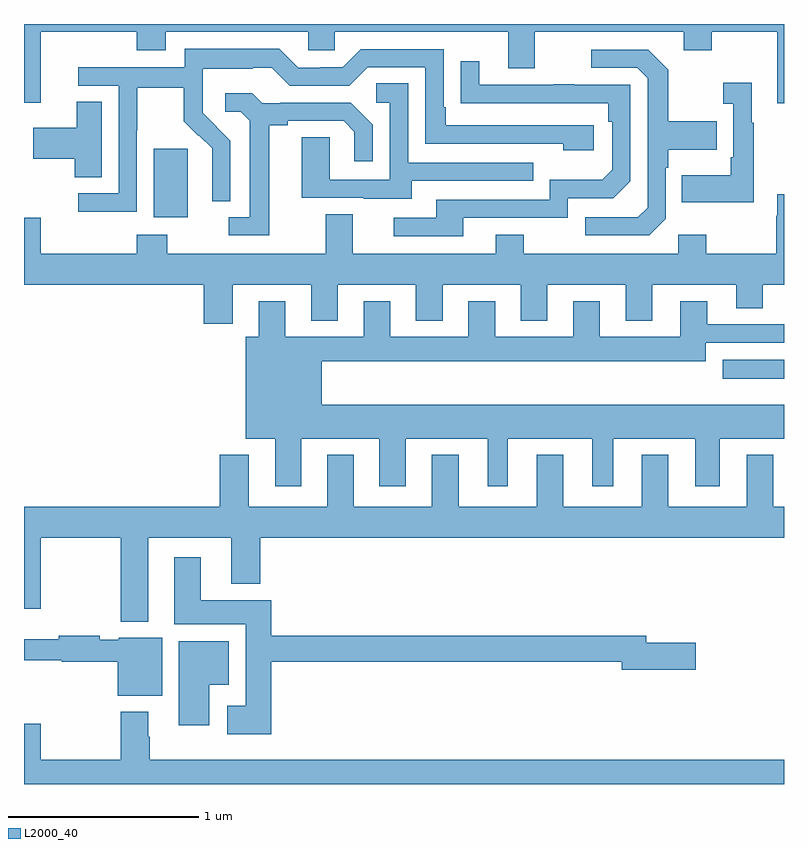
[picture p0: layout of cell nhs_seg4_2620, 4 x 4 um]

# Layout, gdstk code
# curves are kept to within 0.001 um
import gdstk
lib = gdstk.Library(unit=1e-6, precision=1e-09)
def R(c, l, rs):  # rectangles x0, y0, x1, y1
    for r in rs: c.add(gdstk.rectangle(r[:2], r[2:], *l))
def P(c, l, *ps):  # polygons
    for p in ps: c.add(gdstk.Polygon(p, *l))
L2000_40 = (2000, 40)

nhs_seg4_2620 = lib.new_cell('nhs_seg4_2620')
R(nhs_seg4_2620, L2000_40, [(252.678,755.033,253,755.134), (249.683,755.882,249.862,756.243)])
P(nhs_seg4_2620, L2000_40, [(253,756.9),(249,756.9),(249,756.486),(249.088,756.486),(249.088,756.86),(249.593,756.86),(249.593,756.761),(249.745,756.761),(249.745,756.86),(250.497,756.86),(250.497,756.762),(250.635,756.762),(250.635,756.86),(251.549,756.86),(251.549,756.666),(251.689,756.666),(251.689,756.86),(252.473,756.86),(252.473,756.761),(252.621,756.761),(252.621,756.86),(252.965,756.86),(252.965,756.483),(253,756.483)],
  [(249.594,756.34),(249.597,756.34),(249.597,756.564),(249.841,756.564),(249.841,756.389),(249.918,756.312),(249.921,756.315),(249.992,756.245),(249.992,756.122),(249.99,756.122),(249.99,755.968),(250.086,755.968),(250.086,756.286),(249.94,756.434),(249.94,756.531),(249.942,756.531),(249.942,756.665),(250.205,756.665),(250.205,756.669),(250.305,756.669),(250.398,756.576),(250.713,756.576),(250.809,756.672),(251.112,756.672),(251.112,756.27),(251.837,756.27),(251.837,756.236),(251.998,756.236),(251.998,756.366),(251.221,756.366),(251.221,756.463),(251.208,756.463),(251.208,756.768),(250.773,756.768),(250.677,756.672),(250.559,756.672),(250.559,756.669),(250.443,756.669),(250.343,756.769),(249.846,756.769),(249.846,756.672),(249.285,756.672),(249.285,756.576),(249.498,756.576),(249.498,756.009),(249.285,756.009),(249.285,755.911),(249.594,755.911)],
  [(252.378,755.874),(252.378,756.143),(252.391,756.143),(252.391,756.239),(252.647,756.239),(252.647,756.387),(252.391,756.387),(252.391,756.659),(252.285,756.765),(251.985,756.765),(251.985,756.669),(252.228,756.669),(252.282,756.615),(252.282,755.934),(252.231,755.883),(251.955,755.883),(251.955,755.787),(252.291,755.787)],
  [(251.311,755.88),(251.862,755.88),(251.862,755.982),(252.102,755.982),(252.192,756.072),(252.192,756.579),(251.897,756.579),(251.897,756.584),(251.785,756.584),(251.785,756.579),(251.395,756.579),(251.395,756.703),(251.299,756.703),(251.299,756.484),(252.076,756.483),(252.076,756.386),(252.096,756.386),(252.096,756.132),(252.043,756.079),(251.766,756.079),(251.766,755.976),(251.171,755.976),(251.171,755.88),(250.947,755.88),(250.947,755.784),(251.311,755.784)],
  [(252.841,756.379),(252.829,756.379),(252.829,756.592),(252.681,756.592),(252.681,756.479),(252.732,756.479),(252.732,756.199),(252.72,756.199),(252.72,756.103),(252.463,756.103),(252.463,755.963),(252.841,755.963)],
  [(251.041,756.075),(251.681,756.075),(251.681,756.171),(251.022,756.171),(251.022,756.587),(250.854,756.587),(250.854,756.486),(250.926,756.486),(250.926,756.081),(250.608,756.081),(250.608,756.305),(250.463,756.305),(250.463,755.985),(250.787,755.985),(250.787,755.981),(251.041,755.981)],
  [(250.291,756.368),(250.387,756.368),(250.387,756.39),(250.682,756.39),(250.739,756.333),(250.739,756.177),(250.836,756.177),(250.836,756.37),(250.72,756.486),(250.348,756.486),(250.348,756.483),(250.254,756.483),(250.202,756.535),(250.059,756.535),(250.059,756.438),(250.14,756.438),(250.187,756.391),(250.187,755.883),(250.077,755.883),(250.077,755.787),(250.291,755.787)],
  [(249.409,756.491),(249.278,756.491),(249.278,756.355),(249.048,756.355),(249.048,756.19),(249.266,756.19),(249.266,756.094),(249.409,756.094)],
  [(250.099,755.528),(250.511,755.528),(250.511,755.339),(250.651,755.339),(250.651,755.528),(251.063,755.528),(251.063,755.339),(251.203,755.339),(251.203,755.528),(251.615,755.528),(251.615,755.339),(251.755,755.339),(251.755,755.528),(252.167,755.528),(252.167,755.339),(252.307,755.339),(252.307,755.528),(252.749,755.528),(252.749,755.404),(252.889,755.404),(252.889,755.528),(253,755.528),(253,756.004),(252.965,756.004),(252.965,755.891),(252.958,755.891),(252.958,755.692),(252.591,755.692),(252.591,755.791),(252.444,755.791),(252.444,755.692),(251.631,755.692),(251.631,755.791),(251.483,755.791),(251.483,755.692),(250.729,755.692),(250.729,755.9),(250.589,755.9),(250.589,755.692),(249.753,755.692),(249.753,755.791),(249.593,755.791),(249.593,755.692),(249.088,755.692),(249.088,755.881),(249,755.881),(249,755.528),(249.947,755.528),(249.947,755.322),(250.099,755.322)],
  [(250.459,754.718),(250.871,754.718),(250.871,754.467),(251.008,754.467),(251.008,754.718),(251.441,754.718),(251.441,754.467),(251.545,754.467),(251.545,754.718),(251.99,754.718),(251.99,754.467),(252.1,754.467),(252.1,754.718),(252.533,754.718),(252.533,754.467),(252.661,754.467),(252.661,754.718),(253,754.718),(253,754.897),(250.567,754.897),(250.567,755.126),(252.589,755.126),(252.589,755.223),(253,755.223),(253,755.319),(252.595,755.319),(252.595,755.44),(252.455,755.44),(252.455,755.254),(252.031,755.254),(252.031,755.44),(251.891,755.44),(251.891,755.254),(251.479,755.254),(251.479,755.44),(251.339,755.44),(251.339,755.254),(250.927,755.254),(250.927,755.44),(250.787,755.44),(250.787,755.254),(250.375,755.254),(250.375,755.44),(250.235,755.44),(250.235,755.254),(250.166,755.254),(250.166,754.718),(250.322,754.718),(250.322,754.467),(250.459,754.467)],
  [(249.655,754.196),(250.091,754.196),(250.091,753.953),(250.244,753.953),(250.244,754.196),(253,754.196),(253,754.36),(252.943,754.36),(252.943,754.633),(252.803,754.633),(252.803,754.36),(252.391,754.36),(252.391,754.633),(252.251,754.633),(252.251,754.36),(251.839,754.36),(251.839,754.633),(251.699,754.633),(251.699,754.36),(251.287,754.36),(251.287,754.633),(251.147,754.633),(251.147,754.36),(250.735,754.36),(250.735,754.633),(250.595,754.633),(250.595,754.36),(250.183,754.36),(250.183,754.633),(250.031,754.633),(250.031,754.36),(249,754.36),(249,753.822),(249.088,753.822),(249.088,754.196),(249.508,754.196),(249.508,753.755),(249.655,753.755)],
  [(250.301,753.544),(252.146,753.544),(252.146,753.502),(252.535,753.502),(252.535,753.644),(252.274,753.644),(252.274,753.68),(250.301,753.68),(250.301,753.868),(249.931,753.868),(249.931,754.093),(249.791,754.093),(249.791,753.74),(250.166,753.74),(250.166,753.313),(250.071,753.313),(250.071,753.161),(250.301,753.161)],
  [(249.727,753.67),(249.498,753.67),(249.498,753.66),(249.398,753.66),(249.398,753.68),(249.184,753.68),(249.184,753.661),(249,753.661),(249,753.552),(249.198,753.552),(249.198,753.544),(249.494,753.544),(249.494,753.365),(249.727,753.365)],
  [(249.976,753.422),(250.078,753.422),(250.078,753.652),(249.815,753.652),(249.815,753.21),(249.976,753.21)],
  [(253,753.028),(249.663,753.028),(249.663,753.149),(249.655,753.149),(249.655,753.28),(249.508,753.28),(249.508,753.028),(249.088,753.028),(249.088,753.217),(249,753.217),(249,752.9),(253,752.9)])

lib.write_gds('nhs_seg4_2620.gds')
